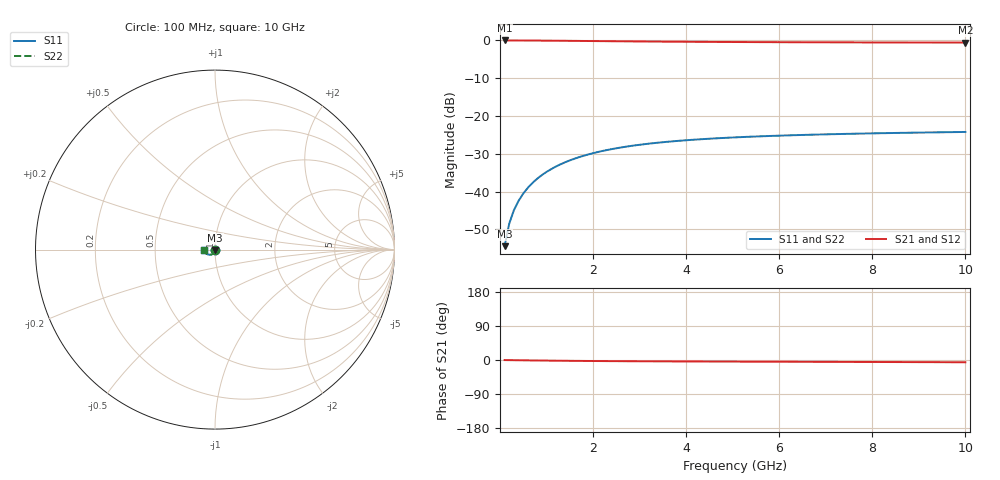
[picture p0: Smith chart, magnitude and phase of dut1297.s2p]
! Touchstone file exported from HFSS 2024.1.0
!  File:  C:/UserFiles/LocalFiles/RDL_TSV_Batchsim/temp_TSV1_1297_1780256742.aedt
!  Generated:  03:51:38 AM Jun  1, 2026
!  Design:  TSV1
!  Project:  temp_TSV1_1297_1780256742
!  Setup:  Setup1
!  Solution:  Sweep
! Variables:
!  dtsv = 13.5um
!  hbump = 3um
!  htsv = 92.69um
!  lrdl = 252.1521522um
!  p = 40
!  p1 = 57.4um
!  t = 500um
!  trdl = 3um
!  wrdl = 24.89489489um
# GHz S MA R 50.000000
! Terminal data exported
! Port[1] = TSV22_T1
! Port[2] = TSV22_T2
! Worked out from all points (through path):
!   100 points, 100 MHz to 10 GHz, reference 50 ohm
!   highest |S21| = 0.00 dB at 100 MHz (marker M1); lowest = -0.6 dB at 10 GHz (marker M2)
!   lowest |S11| = -54.4 dB at 100 MHz (marker M3), VSWR 1.00, Z = 50 - j0.19 ohm
!   |S11| at or under -10 dB: start of sweep to end of sweep
!   |S22| runs from -54.4 to -24.2 dB; largest |S21 - S12| = 5.1e-15
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0.1  0.001899 -89.1  0.9998 -0.2  0.9998 -0.2  0.001899 -89.1
! Gamma 0 0 0 0
! Port Impedance 50 0 50 0
0.2  0.003794 -92.3  0.9996 -0.3  0.9996 -0.3  0.003794 -92.3
0.3  0.005685 -94.7  0.9993 -0.5  0.9993 -0.5  0.005685 -94.7
0.4  0.007564 -96.8  0.9988 -0.7  0.9988 -0.7  0.007564 -96.8
0.5  0.009423 -98.9  0.9983 -0.8  0.9983 -0.8  0.009423 -98.9
0.6  0.01125 -100.9  0.9976 -1.0  0.9976 -1.0  0.01125 -100.9
0.7  0.01305 -102.8  0.9968 -1.1  0.9968 -1.1  0.01305 -102.8
0.8  0.01482 -104.8  0.9959 -1.3  0.9959 -1.3  0.01482 -104.8
0.9  0.01654 -106.6  0.995 -1.4  0.995 -1.4  0.01654 -106.6
1.1  0.01985 -110.3  0.9929 -1.7  0.9929 -1.7  0.01985 -110.3
1.4  0.02445 -115.4  0.9894 -2.1  0.9894 -2.1  0.02445 -115.4
1.6  0.02726 -118.7  0.9869 -2.3  0.9869 -2.3  0.02726 -118.7
1.8  0.02986 -121.7  0.9843 -2.5  0.9843 -2.5  0.02986 -121.7
2.1  0.03339 -126.0  0.9805 -2.7  0.9805 -2.7  0.03339 -126.0
2.5  0.03746 -131.2  0.9755 -3.1  0.9755 -3.1  0.03746 -131.2
2.9  0.04089 -135.8  0.971 -3.3  0.971 -3.3  0.04089 -135.8
3.4  0.04443 -140.9  0.9658 -3.6  0.9658 -3.6  0.04443 -140.9
4.2  0.04879 -147.8  0.959 -3.9  0.959 -3.9  0.04879 -147.8
5.1  0.05237 -154.2  0.9531 -4.3  0.9531 -4.3  0.05237 -154.2
6.7  0.05665 -163.0  0.9457 -4.8  0.9457 -4.8  0.05665 -163.0
8.4  0.05959 -170.4  0.9407 -5.4  0.9407 -5.4  0.05959 -170.4
10  0.06157 -176.1  0.9375 -5.9  0.9375 -5.9  0.06157 -176.1
